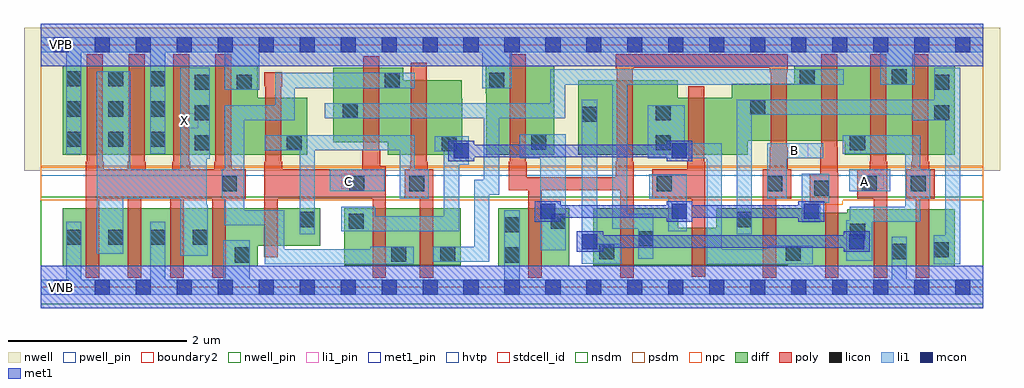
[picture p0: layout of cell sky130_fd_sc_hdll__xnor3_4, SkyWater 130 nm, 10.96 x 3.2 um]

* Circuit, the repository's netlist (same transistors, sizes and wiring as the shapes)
* Copyright 2020 The SkyWater PDK Authors
*
* Licensed under the Apache License, Version 2.0 (the "License");
* you may not use this file except in compliance with the License.
* You may obtain a copy of the License at
*
*     https://www.apache.org/licenses/LICENSE-2.0
*
* Unless required by applicable law or agreed to in writing, software
* distributed under the License is distributed on an "AS IS" BASIS,
* WITHOUT WARRANTIES OR CONDITIONS OF ANY KIND, either express or implied.
* See the License for the specific language governing permissions and
* limitations under the License.
*
* SPDX-License-Identifier: Apache-2.0

.SUBCKT sky130_fd_sc_hdll__xnor3_4 A B C VGND VNB VPB VPWR X
*.PININFO A:I B:I C:I VGND:I VNB:I VPB:I VPWR:I X:O
MMIN3 X net57 VGND VNB sky130_fd_pr__nfet_01v8 m=4 w=0.65U l=0.15U mult=1 sa=0.265
+ sb=0.265 sd=0.28 area=0.063 perim=1.14
MI29 Ab Bb mid2 VNB sky130_fd_pr__nfet_01v8 m=1 w=0.6U l=0.15U mult=1 sa=0.265
+ sb=0.265 sd=0.28 area=0.063 perim=1.14
MI25 Abb Bb mid1 VNB sky130_fd_pr__nfet_01v8 m=1 w=0.42U l=0.15U mult=1 sa=0.265
+ sb=0.265 sd=0.28 area=0.063 perim=1.14
MI17 Bb B VGND VNB sky130_fd_pr__nfet_01v8 m=1 w=0.65U l=0.15U mult=1 sa=0.265
+ sb=0.265 sd=0.28 area=0.063 perim=1.14
MI649 mid1 Cb net57 VNB sky130_fd_pr__nfet_01v8 m=1 w=0.64U l=0.15U mult=1 sa=0.265
+ sb=0.265 sd=0.28 area=0.063 perim=1.14
MI44 Ab A VGND VNB sky130_fd_pr__nfet_01v8 m=1 w=0.64U l=0.15U mult=1 sa=0.265
+ sb=0.265 sd=0.28 area=0.063 perim=1.14
MI34 Cb C VGND VNB sky130_fd_pr__nfet_01v8 m=1 w=0.42U l=0.15U mult=1 sa=0.265
+ sb=0.265 sd=0.28 area=0.063 perim=1.14
MI2 mid2 C net57 VNB sky130_fd_pr__nfet_01v8 m=1 w=0.64U l=0.15U mult=1 sa=0.265
+ sb=0.265 sd=0.28 area=0.063 perim=1.14
MI46 Abb Ab VGND VNB sky130_fd_pr__nfet_01v8 m=1 w=0.64U l=0.15U mult=1 sa=0.265
+ sb=0.265 sd=0.28 area=0.063 perim=1.14
MI24 Ab B mid1 VNB sky130_fd_pr__nfet_01v8 m=1 w=0.64U l=0.15U mult=1 sa=0.265
+ sb=0.265 sd=0.28 area=0.063 perim=1.14
MI28 Abb B mid2 VNB sky130_fd_pr__nfet_01v8 m=1 w=0.64U l=0.15U mult=1 sa=0.265
+ sb=0.265 sd=0.28 area=0.063 perim=1.14
MMIP3 X net57 VPWR VPB sky130_fd_pr__pfet_01v8_hvt m=4 w=1.0U l=0.18U mult=1 sa=0.265
+ sb=0.265 sd=0.28 area=0.063 perim=1.14
MI650 mid1 C net57 VPB sky130_fd_pr__pfet_01v8_hvt m=1 w=0.84U l=0.18U mult=1 sa=0.265
+ sb=0.265 sd=0.28 area=0.063 perim=1.14
MI27 mid2 B Ab VPB sky130_fd_pr__pfet_01v8_hvt m=1 w=0.84U l=0.18U mult=1 sa=0.265
+ sb=0.265 sd=0.28 area=0.063 perim=1.14
MI47 Abb Ab VPWR VPB sky130_fd_pr__pfet_01v8_hvt m=1 w=1.0U l=0.18U mult=1 sa=0.265
+ sb=0.265 sd=0.28 area=0.063 perim=1.14
MI23 mid1 B Abb VPB sky130_fd_pr__pfet_01v8_hvt m=1 w=0.64U l=0.18U mult=1 sa=0.265
+ sb=0.265 sd=0.28 area=0.063 perim=1.14
MI26 mid2 Bb Abb VPB sky130_fd_pr__pfet_01v8_hvt m=1 w=0.64U l=0.18U mult=1 sa=0.265
+ sb=0.265 sd=0.28 area=0.063 perim=1.14
MI7 mid2 Cb net57 VPB sky130_fd_pr__pfet_01v8_hvt m=1 w=0.84U l=0.18U mult=1 sa=0.265
+ sb=0.265 sd=0.28 area=0.063 perim=1.14
MI33 Cb C VPWR VPB sky130_fd_pr__pfet_01v8_hvt m=1 w=0.64U l=0.18U mult=1 sa=0.265
+ sb=0.265 sd=0.28 area=0.063 perim=1.14
MI45 Ab A VPWR VPB sky130_fd_pr__pfet_01v8_hvt m=1 w=1.0U l=0.18U mult=1 sa=0.265
+ sb=0.265 sd=0.28 area=0.063 perim=1.14
MI16 Bb B VPWR VPB sky130_fd_pr__pfet_01v8_hvt m=1 w=1.0U l=0.18U mult=1 sa=0.265
+ sb=0.265 sd=0.28 area=0.063 perim=1.14
MI19 mid1 Bb Ab VPB sky130_fd_pr__pfet_01v8_hvt m=1 w=0.84U l=0.18U mult=1 sa=0.265
+ sb=0.265 sd=0.28 area=0.063 perim=1.14
.ENDS sky130_fd_sc_hdll__xnor3_4

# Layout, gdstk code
import gdstk
lib = gdstk.Library(unit=1e-6, precision=1e-09)
def R(c, l, rs):  # rectangles x0, y0, x1, y1
    for r in rs: c.add(gdstk.rectangle(r[:2], r[2:], *l))
def A(c, l, x, y, w, h, nx, ny, dx, dy):  # array of equal rectangles
    R(c, l, [(x+i*dx, y+j*dy, x+i*dx+w, y+j*dy+h) for i in range(nx) for j in range(ny)])
def P(c, l, *ps):  # polygons
    for p in ps: c.add(gdstk.Polygon(p, *l))
nwell_pin = (64, 16)
nwell = (64, 20)
diff = (65, 20)
poly = (66, 20)
licon = (66, 44)
li1_pin = (67, 16)
li1 = (67, 20)
mcon = (67, 44)
met1_pin = (68, 16)
met1 = (68, 20)
hvtp = (78, 44)
stdcell_id = (81, 4)
nsdm = (93, 44)
psdm = (94, 20)
npc = (95, 20)
pwell_pin = (122, 16)
boundary2 = (236, 0)

sky130_fd_sc_hdll__xnor3 = lib.new_cell('sky130_fd_sc_hdll__xnor3_4')
R(sky130_fd_sc_hdll__xnor3, nwell_pin, [(0.145,2.635,0.315,2.805)])
R(sky130_fd_sc_hdll__xnor3, nwell, [(-0.19,1.305,10.77,2.91)])
R(sky130_fd_sc_hdll__xnor3, diff, [(5.135,0.235,5.935,0.885), (3.405,0.245,4.715,0.885)])
P(sky130_fd_sc_hdll__xnor3, diff, [(2.99,2.125),(2.435,2.125),(2.435,2.485),(0.245,2.485),(0.245,1.485),(2.99,1.485)],
  [(3.135,0.885),(0.245,0.885),(0.245,0.235),(2.435,0.235),(2.435,0.465),(3.135,0.465)],
  [(4.73,2.115),(4.725,2.115),(4.725,2.325),(4.07,2.325),(4.07,2.465),(3.285,2.465),(3.285,1.625),(3.895,1.625),(3.895,1.485),(4.73,1.485)],
  [(5.765,2.485),(4.995,2.485),(4.995,2.175),(5,2.175),(5,1.485),(5.765,1.485)],
  [(10.26,2.485),(8.46,2.485),(8.46,2.285),(7.76,2.285),(7.76,2.125),(7.15,2.125),(7.15,2.325),(6.035,2.325),(6.035,1.485),(7.935,1.485),(7.935,1.645),(9.025,1.645),(9.025,1.485),(10.26,1.485)],
  [(10.26,0.875),(9.055,0.875),(9.055,0.835),(8.555,0.835),(8.555,0.885),(7.585,0.885),(7.585,0.665),(7.155,0.665),(7.155,0.885),(6.205,0.885),(6.205,0.245),(8.39,0.245),(8.39,0.235),(10.26,0.235)])
P(sky130_fd_sc_hdll__xnor3, poly, [(2.3,1.325),(2.145,1.325),(2.145,1.41),(2.135,1.41),(2.135,2.615),(1.955,2.615),(1.955,1.41),(1.945,1.41),(1.945,1.325),(1.675,1.325),(1.675,1.41),(1.665,1.41),(1.665,2.615),(1.485,2.615),(1.485,1.41),(1.475,1.41),(1.475,1.325),(1.175,1.325),(1.175,1.41),(1.165,1.41),(1.165,2.615),(0.985,2.615),(0.985,1.41),(0.975,1.41),(0.975,1.325),(0.705,1.325),(0.705,1.41),(0.695,1.41),(0.695,2.615),(0.515,2.615),(0.515,1.41),(0.505,1.41),(0.505,0.105),(0.655,0.105),(0.655,0.995),(0.975,0.995),(0.975,0.105),(1.125,0.105),(1.125,0.995),(1.455,0.995),(1.455,0.105),(1.605,0.105),(1.605,0.995),(1.925,0.995),(1.925,0.105),(2.075,0.105),(2.075,0.995),(2.3,0.995)],
  [(3.875,1.355),(3.81,1.355),(3.81,1.55),(3.8,1.55),(3.8,2.595),(3.62,2.595),(3.62,1.55),(3.61,1.55),(3.61,1.325),(2.71,1.325),(2.71,1.41),(2.7,1.41),(2.7,2.255),(2.71,2.255),(2.71,2.415),(2.51,2.415),(2.51,2.255),(2.52,2.255),(2.52,1.41),(2.51,1.41),(2.51,0.335),(2.66,0.335),(2.66,0.995),(3.725,0.995),(3.725,0.105),(3.875,0.105)],
  [(4.405,1.325),(4.345,1.325),(4.345,1.41),(4.335,1.41),(4.335,2.52),(4.155,2.52),(4.155,1.41),(4.145,1.41),(4.145,1.325),(4.085,1.325),(4.085,0.995),(4.255,0.995),(4.255,0.105),(4.405,0.105)],
  [(7.46,1.41),(7.45,1.41),(7.45,2.255),(7.27,2.255),(7.27,1.41),(7.26,1.41),(7.26,1.325),(6.865,1.325),(6.865,0.995),(7.31,0.995),(7.31,0.115),(7.46,0.115)],
  [(8.425,1.325),(8.385,1.325),(8.385,1.57),(8.375,1.57),(8.375,2.415),(8.385,2.415),(8.385,2.615),(6.455,2.615),(6.455,2.455),(6.465,2.455),(6.465,1.41),(6.455,1.41),(6.455,1.235),(5.455,1.235),(5.455,1.41),(5.445,1.41),(5.445,2.615),(5.265,2.615),(5.265,1.41),(5.255,1.41),(5.255,1.085),(5.475,1.085),(5.475,0.105),(5.625,0.105),(5.625,1.085),(6.505,1.085),(6.505,0.105),(6.655,0.105),(6.655,1.41),(6.645,1.41),(6.645,2.455),(6.655,2.455),(6.655,2.465),(8.185,2.465),(8.185,2.415),(8.195,2.415),(8.195,1.57),(8.185,1.57),(8.185,1.325),(8.105,1.325),(8.105,0.105),(8.255,0.105),(8.255,0.995),(8.425,0.995)],
  [(8.955,1.28),(8.95,1.28),(8.95,1.57),(8.94,1.57),(8.94,2.615),(8.76,2.615),(8.76,1.57),(8.75,1.57),(8.75,1.275),(8.635,1.275),(8.635,0.945),(8.805,0.945),(8.805,0.105),(8.955,0.105)],
  [(9.505,1.41),(9.495,1.41),(9.495,2.615),(9.315,2.615),(9.315,1.41),(9.305,1.41),(9.305,1.325),(9.165,1.325),(9.165,0.995),(9.355,0.995),(9.355,0.105),(9.505,0.105)],
  [(10.035,1.325),(9.975,1.325),(9.975,1.41),(9.965,1.41),(9.965,2.615),(9.785,2.615),(9.785,1.41),(9.775,1.41),(9.775,1.325),(9.715,1.325),(9.715,0.995),(9.825,0.995),(9.825,0.105),(9.975,0.105),(9.975,0.995),(10.035,0.995)])
A(sky130_fd_sc_hdll__xnor3, licon, 0.285, 0.475, 0.17, 0.17, 3, 2, 0.47, 1.1)
A(sky130_fd_sc_hdll__xnor3, licon, 1.725, 1.535, 0.17, 0.17, 1, 3, 0, 0.34)
A(sky130_fd_sc_hdll__xnor3, licon, 0.285, 1.915, 0.17, 0.17, 3, 2, 0.47, 0.34)
R(sky130_fd_sc_hdll__xnor3, licon, [(2.175,0.275,2.345,0.445), (5.205,0.275,5.375,0.445), (3.935,0.285,4.105,0.455), (4.485,0.285,4.655,0.455), (8.365,0.295,8.535,0.465), (6.27,0.315,6.44,0.485), (9.555,0.315,9.725,0.485), (10.025,0.335,10.195,0.505), (6.705,0.46,6.875,0.63), (1.705,0.475,1.875,0.645), (9.085,0.54,9.255,0.71), (5.205,0.615,5.375,0.785), (3.455,0.655,3.625,0.825), (5.725,0.655,5.895,0.825), (2.905,0.675,3.075,0.845), (7.815,0.675,7.985,0.845), (8.685,1.025,8.855,1.195), (2.03,1.075,2.2,1.245), (3.46,1.075,3.63,1.245), (4.135,1.075,4.305,1.245), (6.915,1.075,7.085,1.245), (8.155,1.075,8.325,1.245), (9.215,1.075,9.385,1.245), (9.765,1.075,9.935,1.245), (4.5,1.525,4.67,1.695), (2.76,1.535,2.93,1.705), (6.905,1.535,7.075,1.705), (9.085,1.535,9.255,1.705), (5.505,1.545,5.675,1.715), (6.075,1.855,6.245,2.025), (6.905,1.875,7.075,2.045), (10.03,1.875,10.2,2.045), (3.39,1.895,3.56,2.065), (7.965,1.935,8.135,2.105), (2.2,2.215,2.37,2.385), (10.03,2.215,10.2,2.385), (3.86,2.235,4.03,2.405), (5.035,2.235,5.205,2.405), (8.52,2.275,8.69,2.445), (9.555,2.275,9.725,2.445)])
R(sky130_fd_sc_hdll__xnor3, li1_pin, [(3.37,1.105,3.54,1.275), (9.295,1.105,9.465,1.275), (8.445,1.445,8.615,1.615), (1.595,1.785,1.765,1.955)])
R(sky130_fd_sc_hdll__xnor3, li1, [(3.245,1.075,3.86,1.325), (9.075,1.075,9.535,1.325)])
P(sky130_fd_sc_hdll__xnor3, li1, [(10.325,2.465),(10.03,2.465),(10.03,2.105),(7.815,2.105),(7.815,0.595),(7.985,0.595),(7.985,1.935),(9.79,1.935),(9.79,1.875),(10.155,1.875),(10.155,0.585),(10.025,0.585),(10.025,0.255),(10.325,0.255)],
  [(1.895,2.465),(1.565,2.465),(1.565,1.325),(1.005,1.325),(1.005,2.425),(0.625,2.425),(0.625,0.375),(0.925,0.375),(0.925,0.995),(1.565,0.995),(1.565,0.35),(1.875,0.35),(1.875,0.925),(1.86,0.925),(1.86,1.44),(1.895,1.44)],
  [(4.2,2.405),(2.63,2.405),(2.63,2.045),(2.065,2.045),(2.065,1.325),(2.03,1.325),(2.03,0.995),(2.06,0.995),(2.06,0.695),(2.515,0.695),(2.515,0.255),(4.185,0.255),(4.185,0.455),(3.7,0.455),(3.7,0.425),(2.735,0.425),(2.735,0.865),(2.285,0.865),(2.285,1.875),(2.85,1.875),(2.85,2.235),(4.2,2.235)],
  [(10.58,0.085),(9.725,0.085),(9.725,0.565),(9.555,0.565),(9.555,0.085),(5.375,0.085),(5.375,0.865),(5.205,0.865),(5.205,0.085),(2.345,0.085),(2.345,0.525),(2.045,0.525),(2.045,0.085),(1.395,0.085),(1.395,0.735),(1.225,0.735),(1.225,0.085),(0.455,0.085),(0.455,0.735),(0.285,0.735),(0.285,0.085),(0,0.085),(0,-0.085),(10.58,-0.085)],
  [(10.58,2.805),(0,2.805),(0,2.635),(0.285,2.635),(0.285,1.49),(0.455,1.49),(0.455,2.635),(1.225,2.635),(1.225,1.495),(1.395,1.495),(1.395,2.635),(2.065,2.635),(2.065,2.215),(2.45,2.215),(2.45,2.635),(4.955,2.635),(4.955,2.235),(5.285,2.235),(5.285,2.635),(9.425,2.635),(9.425,2.275),(9.81,2.275),(9.81,2.635),(10.58,2.635)],
  [(4.355,1.325),(4.2,1.325),(4.2,1.705),(2.515,1.705),(2.515,1.535),(2.905,1.535),(2.905,0.595),(3.075,0.595),(3.075,1.535),(4.03,1.535),(4.03,0.995),(4.355,0.995)],
  [(4.805,1.695),(4.42,1.695),(4.42,1.525),(4.525,1.525),(4.525,0.795),(3.755,0.795),(3.755,0.905),(3.375,0.905),(3.375,0.625),(4.695,0.625),(4.695,1.375),(4.805,1.375)],
  [(5.895,1.715),(5.375,1.715),(5.375,1.445),(5.605,1.445),(5.605,0.415),(5.895,0.415)],
  [(6.52,0.485),(6.245,0.485),(6.245,2.105),(6.075,2.105),(6.075,0.265),(6.52,0.265)],
  [(7.255,1.27),(6.83,1.27),(6.83,0.995),(7.045,0.995),(7.045,0.63),(7.255,0.63)],
  [(8.67,0.465),(8.155,0.465),(8.155,0.425),(7.645,0.425),(7.645,1.615),(7.23,1.615),(7.23,2.045),(6.815,2.045),(6.815,1.445),(7.475,1.445),(7.475,0.255),(8.67,0.255)],
  [(8.785,1.615),(8.155,1.615),(8.155,0.995),(8.375,0.995),(8.375,1.445),(8.785,1.445)],
  [(8.855,1.275),(8.545,1.275),(8.545,0.73),(8.75,0.73),(8.75,0.945),(8.855,0.945)],
  [(9.015,2.445),(5.72,2.445),(5.72,2.065),(3.19,2.065),(3.19,1.895),(4.975,1.895),(4.975,1.205),(4.865,1.205),(4.865,0.455),(4.405,0.455),(4.405,0.285),(5.035,0.285),(5.035,1.035),(5.145,1.035),(5.145,1.895),(5.89,1.895),(5.89,2.275),(6.415,2.275),(6.415,0.655),(6.705,0.655),(6.705,0.32),(6.875,0.32),(6.875,0.825),(6.585,0.825),(6.585,2.275),(9.015,2.275)],
  [(9.985,1.325),(9.875,1.325),(9.875,1.705),(9.005,1.705),(9.005,1.495),(9.705,1.495),(9.705,0.905),(9.085,0.905),(9.085,0.75),(9.045,0.75),(9.045,0.295),(9.335,0.295),(9.335,0.735),(9.875,0.735),(9.875,0.995),(9.985,0.995)])
A(sky130_fd_sc_hdll__xnor3, mcon, 0.145, -0.085, 0.17, 0.17, 23, 2, 0.46, 2.72)
A(sky130_fd_sc_hdll__xnor3, mcon, 5.605, 0.765, 0.17, 0.17, 3, 1, 1.48, 0)
R(sky130_fd_sc_hdll__xnor3, mcon, [(6.075,0.425,6.245,0.595), (9.075,0.425,9.245,0.595), (4.635,1.445,4.805,1.615), (7.085,1.445,7.255,1.615)])
R(sky130_fd_sc_hdll__xnor3, met1_pin, [(0.145,-0.085,0.315,0.085), (0.145,2.635,0.315,2.805)])
R(sky130_fd_sc_hdll__xnor3, met1, [(0,-0.24,10.58,0.24), (0,2.48,10.58,2.96)])
P(sky130_fd_sc_hdll__xnor3, met1, [(7.315,1.645),(7.025,1.645),(7.025,1.6),(4.865,1.6),(4.865,1.645),(4.575,1.645),(4.575,1.415),(4.865,1.415),(4.865,1.46),(7.025,1.46),(7.025,1.415),(7.315,1.415)],
  [(8.795,0.965),(8.505,0.965),(8.505,0.92),(7.315,0.92),(7.315,0.965),(7.025,0.965),(7.025,0.92),(5.835,0.92),(5.835,0.965),(5.545,0.965),(5.545,0.735),(5.835,0.735),(5.835,0.78),(7.025,0.78),(7.025,0.735),(7.315,0.735),(7.315,0.78),(8.505,0.78),(8.505,0.735),(8.795,0.735)],
  [(9.305,0.625),(9.015,0.625),(9.015,0.58),(6.315,0.58),(6.315,0.625),(6.015,0.625),(6.015,0.395),(6.315,0.395),(6.315,0.44),(9.015,0.44),(9.015,0.395),(9.305,0.395)])
R(sky130_fd_sc_hdll__xnor3, hvtp, [(0,1.25,10.58,2.72)])
R(sky130_fd_sc_hdll__xnor3, stdcell_id, [(0,0,10.58,2.72)])
R(sky130_fd_sc_hdll__xnor3, nsdm, [(0,-0.19,10.58,1.015)])
R(sky130_fd_sc_hdll__xnor3, psdm, [(0,1.355,10.58,2.91)])
P(sky130_fd_sc_hdll__xnor3, npc, [(10.58,1.345),(0,1.345),(0,0.975),(8.585,0.975),(8.585,0.925),(9.005,0.925),(9.005,0.975),(10.58,0.975)])
R(sky130_fd_sc_hdll__xnor3, pwell_pin, [(0.145,-0.085,0.315,0.085)])
R(sky130_fd_sc_hdll__xnor3, boundary2, [(0,0,10.58,2.72)])
sky130_fd_sc_hdll__xnor3.add(gdstk.Label('X', (1.61,1.87), layer=67, texttype=5))
sky130_fd_sc_hdll__xnor3.add(gdstk.Label('B', (8.465,1.53), layer=67, texttype=5))
sky130_fd_sc_hdll__xnor3.add(gdstk.Label('C', (3.45,1.19), layer=67, texttype=5))
sky130_fd_sc_hdll__xnor3.add(gdstk.Label('A', (9.25,1.19), layer=67, texttype=5))
sky130_fd_sc_hdll__xnor3.add(gdstk.Label('VNB', (0.23,0), layer=64, texttype=59))
sky130_fd_sc_hdll__xnor3.add(gdstk.Label('VPB', (0.23,2.72), layer=64, texttype=5))
sky130_fd_sc_hdll__xnor3.add(gdstk.Label('VGND', (0.23,0), layer=68, texttype=5))
sky130_fd_sc_hdll__xnor3.add(gdstk.Label('VPWR', (0.23,2.72), layer=68, texttype=5))
sky130_fd_sc_hdll__xnor3.add(gdstk.Label('hkscl5hdv1_xnor3_1', (0,0), layer=83, texttype=44))
sky130_fd_sc_hdll__xnor3.add(gdstk.Label('HHNEC', (0,2.72), layer=83, texttype=44))

lib.write_gds('sky130_fd_sc_hdll__xnor3_4.gds')
